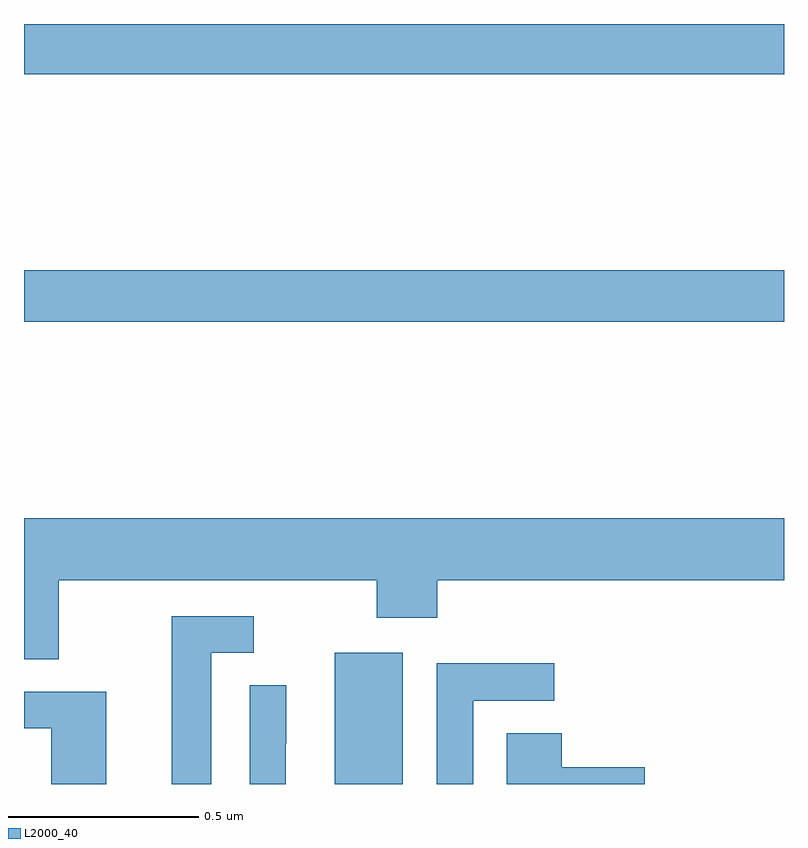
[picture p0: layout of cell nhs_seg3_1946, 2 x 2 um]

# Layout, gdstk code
import gdstk
lib = gdstk.Library(unit=1e-6, precision=1e-09)
def R(c, l, rs):  # rectangles x0, y0, x1, y1
    for r in rs: c.add(gdstk.rectangle(r[:2], r[2:], *l))
def P(c, l, *ps):  # polygons
    for p in ps: c.add(gdstk.Polygon(p, *l))
L2000_40 = (2000, 40)

nhs_seg3_1946 = lib.new_cell('nhs_seg3_1946')
R(nhs_seg3_1946, L2000_40, [(135.818,680.4,135.997,680.746), (135,681.616,137,681.752), (135,682.268,137,682.4)])
P(nhs_seg3_1946, L2000_40, [(135.091,680.936),(135.928,680.936),(135.928,680.837),(136.088,680.837),(136.088,680.936),(137,680.936),(137,681.1),(135,681.1),(135,680.728),(135.091,680.728)],
  [(135.493,680.745),(135.604,680.745),(135.604,680.841),(135.389,680.841),(135.389,680.4),(135.493,680.4)],
  [(136.182,680.619),(136.396,680.619),(136.396,680.718),(136.086,680.718),(136.086,680.4),(136.182,680.4)],
  [(135.689,680.506),(135.69,680.506),(135.69,680.66),(135.594,680.66),(135.594,680.4),(135.689,680.4)],
  [(135.217,680.643),(135,680.643),(135,680.547),(135.072,680.547),(135.072,680.4),(135.217,680.4)],
  [(136.633,680.444),(136.415,680.444),(136.415,680.534),(136.271,680.534),(136.271,680.4),(136.633,680.4)])

lib.write_gds('nhs_seg3_1946.gds')
